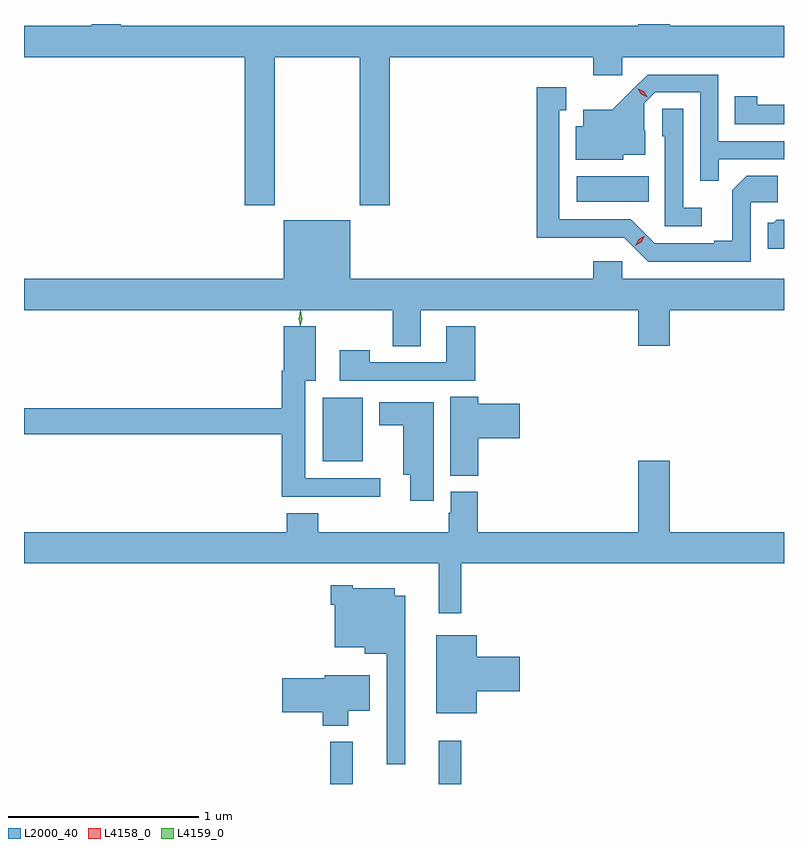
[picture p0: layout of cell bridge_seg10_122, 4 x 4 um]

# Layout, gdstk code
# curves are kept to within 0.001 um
import gdstk
lib = gdstk.Library(unit=1e-6, precision=1e-09)
def R(c, l, rs):  # rectangles x0, y0, x1, y1
    for r in rs: c.add(gdstk.rectangle(r[:2], r[2:], *l))
def P(c, l, *ps):  # polygons
    for p in ps: c.add(gdstk.Polygon(p, *l))
L2000_40 = (2000, 40)
L4158_0 = (4158, 0)
L4159_0 = (4159, 0)

bridge_seg10_122 = lib.new_cell('bridge_seg10_122')
R(bridge_seg10_122, L2000_40, [(379.171,1264.522,379.289,1264.744), (379.742,1264.522,379.859,1264.75), (379.13,1266.221,379.342,1266.556), (380.466,1267.586,380.846,1267.72)])
P(bridge_seg10_122, L2000_40, [(378.879,1268.348),(379.324,1268.348),(379.324,1267.569),(379.484,1267.569),(379.484,1268.348),(380.555,1268.348),(380.555,1268.253),(380.706,1268.253),(380.706,1268.348),(381.558,1268.348),(381.558,1268.512),(380.956,1268.512),(380.956,1268.522),(380.792,1268.522),(380.792,1268.512),(378.068,1268.512),(378.068,1268.522),(377.915,1268.522),(377.915,1268.512),(377.558,1268.512),(377.558,1268.348),(378.719,1268.348),(378.719,1267.569),(378.879,1267.569)],
  [(381.215,1267.809),(381.558,1267.809),(381.558,1267.905),(381.213,1267.905),(381.213,1268.256),(380.84,1268.256),(380.653,1268.071),(380.501,1268.071),(380.501,1267.984),(380.462,1267.984),(380.462,1267.808),(380.712,1267.808),(380.712,1267.835),(380.827,1267.835),(380.827,1267.964),(380.823,1267.964),(380.823,1268.106),(380.88,1268.163),(381.117,1268.163),(381.117,1267.696),(381.215,1267.696)],
  [(381.384,1267.584),(381.526,1267.584),(381.526,1267.724),(381.361,1267.724),(381.285,1267.648),(381.285,1267.381),(381.191,1267.381),(381.191,1267.368),(380.877,1267.368),(380.751,1267.494),(380.374,1267.494),(380.374,1268.067),(380.413,1268.067),(380.413,1268.188),(380.256,1268.188),(380.256,1267.397),(380.718,1267.398),(380.844,1267.272),(381.384,1267.272)],
  [(381.558,1268.096),(381.417,1268.096),(381.417,1268.143),(381.298,1268.143),(381.298,1267.995),(381.558,1267.995)],
  [(381.124,1267.555),(381.027,1267.555),(381.027,1268.075),(380.916,1268.075),(380.916,1267.932),(380.931,1267.932),(380.931,1267.458),(381.124,1267.458)],
  [(381.558,1267.492),(381.52,1267.492),(381.504,1267.476),(381.473,1267.476),(381.473,1267.34),(381.558,1267.34)],
  [(379.645,1267.016),(380.792,1267.016),(380.792,1266.828),(380.956,1266.828),(380.956,1267.016),(381.558,1267.016),(381.558,1267.18),(380.706,1267.18),(380.706,1267.273),(380.555,1267.273),(380.555,1267.18),(379.276,1267.18),(379.276,1267.489),(378.926,1267.489),(378.926,1267.18),(377.558,1267.18),(377.558,1267.016),(379.498,1267.016),(379.498,1266.826),(379.645,1266.826)],
  [(379.934,1266.931),(379.781,1266.931),(379.781,1266.741),(379.377,1266.741),(379.377,1266.805),(379.221,1266.805),(379.221,1266.645),(379.934,1266.645)],
  [(379.432,1266.132),(379.039,1266.132),(379.039,1266.644),(379.093,1266.644),(379.093,1266.931),(378.926,1266.931),(378.926,1266.698),(378.914,1266.698),(378.914,1266.5),(377.558,1266.5),(377.558,1266.364),(378.914,1266.364),(378.914,1266.035),(379.432,1266.035)],
  [(379.949,1266.341),(380.167,1266.341),(380.167,1266.524),(379.949,1266.524),(379.949,1266.56),(379.802,1266.56),(379.802,1266.145),(379.949,1266.145)],
  [(379.714,1266.532),(379.427,1266.532),(379.427,1266.41),(379.553,1266.41),(379.553,1266.149),(379.592,1266.149),(379.592,1266.012),(379.714,1266.012)],
  [(381.558,1265.848),(380.956,1265.848),(380.956,1266.223),(380.792,1266.223),(380.792,1265.848),(379.946,1265.848),(379.946,1266.06),(379.805,1266.06),(379.805,1265.949),(379.793,1265.949),(379.793,1265.848),(379.106,1265.848),(379.106,1265.947),(378.941,1265.947),(378.941,1265.848),(377.558,1265.848),(377.558,1265.684),(379.741,1265.684),(379.741,1265.421),(379.859,1265.421),(379.859,1265.684),(381.558,1265.684)],
  [(379.564,1265.512),(379.51,1265.512),(379.51,1265.551),(379.287,1265.551),(379.287,1265.569),(379.172,1265.569),(379.172,1265.465),(379.193,1265.465),(379.193,1265.243),(379.352,1265.243),(379.352,1265.207),(379.467,1265.207),(379.467,1264.626),(379.564,1264.626)],
  [(379.942,1265.009),(380.167,1265.009),(380.167,1265.192),(379.942,1265.192),(379.942,1265.305),(379.727,1265.305),(379.727,1264.895),(379.942,1264.895)],
  [(379.264,1264.907),(379.378,1264.907),(379.378,1265.095),(379.142,1265.095),(379.142,1265.078),(378.918,1265.078),(378.918,1264.9),(379.13,1264.9),(379.13,1264.829),(379.264,1264.829)])
P(bridge_seg10_122, L4158_0, [(380.838,1268.137),(380.807,1268.152),(380.789,1268.181),(380.789,1268.182),(380.79,1268.182),(380.82,1268.167),(380.838,1268.138),(380.838,1268.137)],
  [(380.776,1267.355),(380.776,1267.355),(380.793,1267.388),(380.824,1267.408),(380.824,1267.408),(380.824,1267.407),(380.807,1267.374),(380.776,1267.355)])
P(bridge_seg10_122, L4159_0, [(379.012,1266.931),(379.012,1266.931),(379.003,1266.971),(379.013,1267.012),(379.013,1267.012),(379.014,1267.012),(379.023,1266.971),(379.012,1266.931)])

lib.write_gds('bridge_seg10_122.gds')
